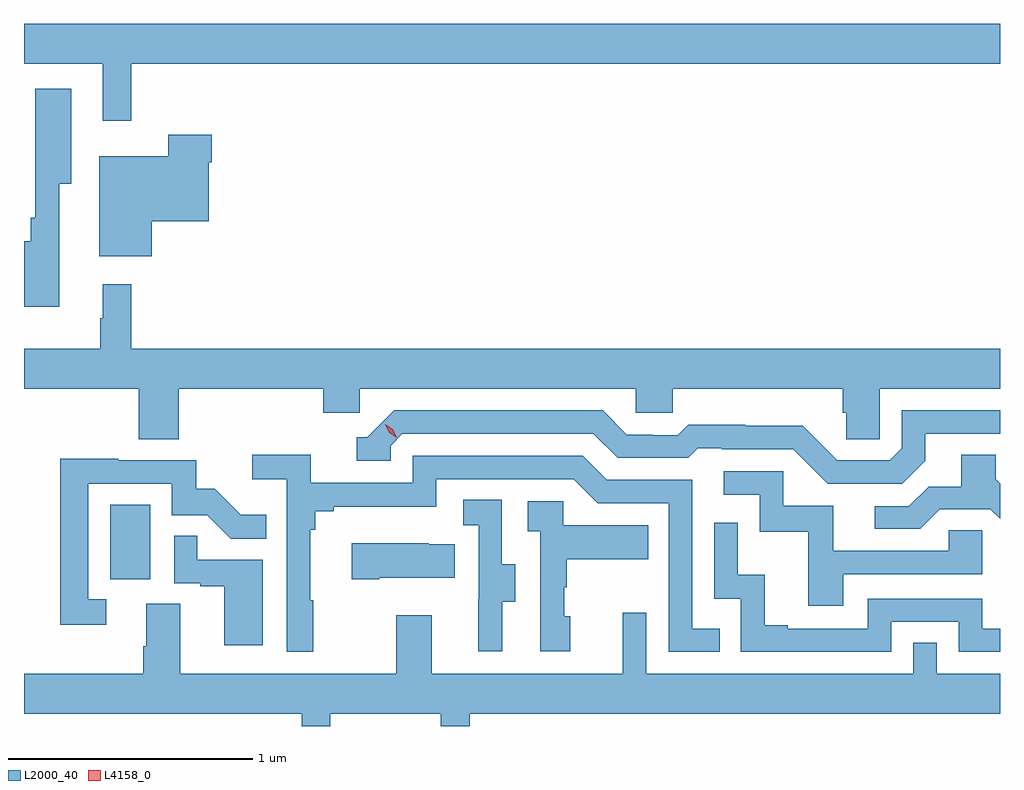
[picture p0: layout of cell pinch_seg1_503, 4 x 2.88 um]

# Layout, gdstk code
import gdstk
lib = gdstk.Library(unit=1e-6, precision=1e-09)
def R(c, l, rs):  # rectangles x0, y0, x1, y1
    for r in rs: c.add(gdstk.rectangle(r[:2], r[2:], *l))
def P(c, l, *ps):  # polygons
    for p in ps: c.add(gdstk.Polygon(p, *l))
L2000_40 = (2000, 40)
L4158_0 = (4158, 0)

pinch_seg1_503 = lib.new_cell('pinch_seg1_503')
R(pinch_seg1_503, L2000_40, [(1129.466,529.638,1129.63,529.945)])
P(pinch_seg1_503, L2000_40, [(1129.553,531.752),(1133.113,531.752),(1133.113,531.916),(1129.113,531.916),(1129.113,531.752),(1129.436,531.752),(1129.436,531.519),(1129.553,531.519)],
  [(1129.258,531.26),(1129.306,531.26),(1129.306,531.649),(1129.16,531.649),(1129.16,531.121),(1129.141,531.121),(1129.141,531.025),(1129.113,531.025),(1129.113,530.756),(1129.258,530.756)],
  [(1129.636,531.107),(1129.87,531.107),(1129.87,531.347),(1129.883,531.347),(1129.883,531.46),(1129.705,531.46),(1129.705,531.373),(1129.421,531.373),(1129.421,530.963),(1129.636,530.963)],
  [(1129.748,530.42),(1130.339,530.42),(1130.339,530.322),(1130.49,530.322),(1130.49,530.42),(1131.621,530.42),(1131.621,530.322),(1131.771,530.322),(1131.771,530.42),(1132.469,530.42),(1132.469,530.322),(1132.483,530.322),(1132.483,530.212),(1132.62,530.212),(1132.62,530.42),(1133.113,530.42),(1133.113,530.584),(1129.553,530.584),(1129.553,530.848),(1129.436,530.848),(1129.436,530.708),(1129.425,530.708),(1129.425,530.584),(1129.113,530.584),(1129.113,530.42),(1129.583,530.42),(1129.583,530.212),(1129.748,530.212)],
  [(1132.807,530.125),(1132.807,530.235),(1133.113,530.235),(1133.113,530.331),(1132.71,530.331),(1132.71,530.175),(1132.662,530.127),(1132.446,530.127),(1132.304,530.269),(1132.068,530.269),(1132.068,530.272),(1131.835,530.272),(1131.793,530.229),(1131.69,530.229),(1131.69,530.232),(1131.583,530.232),(1131.484,530.331),(1130.631,530.331),(1130.52,530.22),(1130.477,530.22),(1130.477,530.124),(1130.616,530.124),(1130.616,530.187),(1130.664,530.235),(1131.447,530.235),(1131.546,530.136),(1131.835,530.136),(1131.874,530.175),(1131.973,530.175),(1131.973,530.172),(1132.266,530.172),(1132.407,530.031),(1132.713,530.031)],
  [(1132.867,529.926),(1133.073,529.926),(1133.113,529.886),(1133.113,530.03),(1133.095,530.048),(1133.095,530.15),(1132.955,530.15),(1132.955,530.018),(1132.82,530.018),(1132.74,529.938),(1132.599,529.938),(1132.599,529.845),(1132.786,529.845)],
  [(1130.299,529.553),(1130.287,529.553),(1130.287,529.841),(1130.306,529.841),(1130.306,529.918),(1130.383,529.918),(1130.383,529.937),(1130.802,529.937),(1130.802,530.049),(1131.366,530.049),(1131.465,529.95),(1131.756,529.95),(1131.756,529.341),(1131.965,529.341),(1131.965,529.437),(1131.852,529.437),(1131.852,530.046),(1131.502,530.046),(1131.403,530.145),(1130.706,530.145),(1130.706,530.034),(1130.288,530.034),(1130.288,530.15),(1130.049,530.15),(1130.049,530.048),(1130.19,530.048),(1130.19,529.341),(1130.299,529.341)],
  [(1129.45,529.557),(1129.377,529.557),(1129.377,530.031),(1129.719,530.031),(1129.719,529.902),(1129.863,529.902),(1129.961,529.804),(1130.105,529.804),(1130.105,529.903),(1130.001,529.903),(1129.894,530.01),(1129.818,530.01),(1129.818,530.127),(1129.499,530.127),(1129.499,530.132),(1129.261,530.132),(1129.261,529.452),(1129.45,529.452)],
  [(1132.471,529.659),(1133.04,529.659),(1133.04,529.839),(1132.903,529.839),(1132.903,529.755),(1132.429,529.755),(1132.429,529.941),(1132.224,529.941),(1132.224,530.082),(1131.981,530.082),(1131.981,529.986),(1132.128,529.986),(1132.128,529.833),(1132.327,529.833),(1132.327,529.53),(1132.471,529.53)],
  [(1131.073,529.546),(1131.127,529.546),(1131.127,529.701),(1131.072,529.701),(1131.072,529.964),(1130.913,529.964),(1130.913,529.861),(1130.976,529.861),(1130.976,529.557),(1130.975,529.557),(1130.975,529.344),(1131.073,529.344)],
  [(1131.352,529.488),(1131.327,529.488),(1131.327,529.607),(1131.337,529.607),(1131.337,529.721),(1131.671,529.721),(1131.671,529.861),(1131.324,529.861),(1131.324,529.959),(1131.177,529.959),(1131.177,529.835),(1131.228,529.835),(1131.228,529.344),(1131.352,529.344)],
  [(1132.668,529.464),(1132.944,529.464),(1132.944,529.341),(1133.113,529.341),(1133.113,529.437),(1133.04,529.437),(1133.04,529.56),(1132.572,529.56),(1132.572,529.437),(1132.243,529.437),(1132.243,529.45),(1132.148,529.45),(1132.148,529.658),(1132.038,529.658),(1132.038,529.87),(1131.942,529.87),(1131.942,529.56),(1132.05,529.56),(1132.05,529.341),(1132.668,529.341)],
  [(1130.092,529.719),(1129.823,529.719),(1129.823,529.817),(1129.728,529.817),(1129.728,529.623),(1129.835,529.623),(1129.835,529.611),(1129.934,529.611),(1129.934,529.368),(1130.092,529.368)],
  [(1130.569,529.646),(1130.879,529.646),(1130.879,529.783),(1130.771,529.783),(1130.771,529.786),(1130.457,529.786),(1130.457,529.639),(1130.569,529.639)],
  [(1130.369,529.088),(1130.822,529.088),(1130.822,529.036),(1130.939,529.036),(1130.939,529.088),(1133.113,529.088),(1133.113,529.252),(1132.854,529.252),(1132.854,529.379),(1132.758,529.379),(1132.758,529.252),(1131.663,529.252),(1131.663,529.501),(1131.566,529.501),(1131.566,529.252),(1130.785,529.252),(1130.785,529.492),(1130.638,529.492),(1130.638,529.252),(1129.753,529.252),(1129.753,529.538),(1129.613,529.538),(1129.613,529.364),(1129.601,529.364),(1129.601,529.252),(1129.113,529.252),(1129.113,529.088),(1130.251,529.088),(1130.251,529.036),(1130.369,529.036)])
P(pinch_seg1_503, L4158_0, [(1130.639,530.22),(1130.609,530.24),(1130.593,530.273),(1130.593,530.274),(1130.593,530.274),(1130.624,530.254),(1130.64,530.221),(1130.64,530.22)])

lib.write_gds('pinch_seg1_503.gds')
